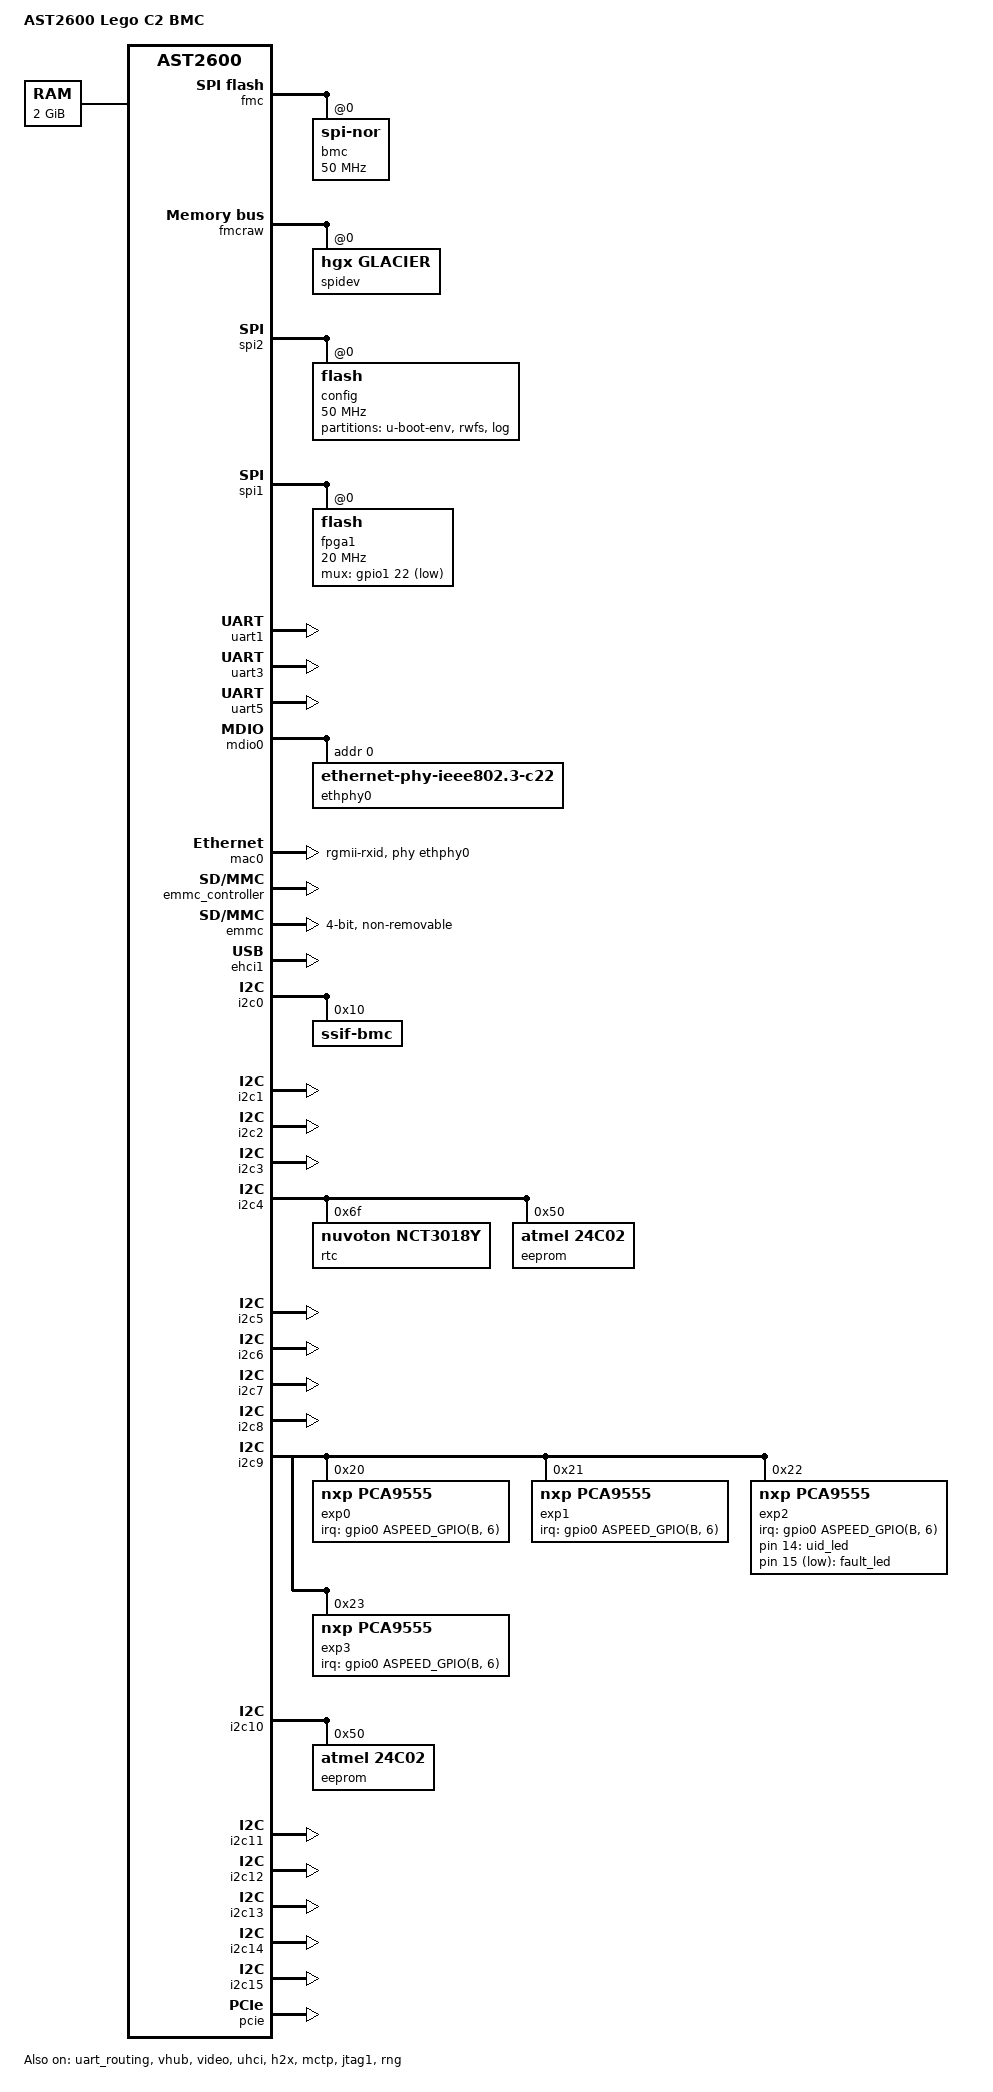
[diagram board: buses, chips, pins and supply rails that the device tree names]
// SPDX-License-Identifier: GPL-2.0+
/dts-v1/;

#include "nvidia-gh-legobmc-core.dtsi"
#include <dt-bindings/leds/common.h>

/ {
    model = "AST2600 Lego C2 BMC";
    compatible = "aspeed,ast2600";

	aliases {
		serial2 = &uart3;
		serial4 = &uart5;
	};

	chosen {
		stdout-path = &uart5;
		bootargs = "console=tty0 console=ttyS4,115200n8 earlyprintk";
	};

	memory@80000000 {
		device_type = "memory";
		reg = <0x80000000 0x80000000>;
	};

    reserved-memory {
		#address-cells = <1>;
		#size-cells = <1>;
		ranges;

		vga_memory: framebuffer@9f000000 {
			no-map;
			reg = <0x9f000000 0x01000000>; /* 16M */
		};

		gfx_memory: framebuffer {
			size = <0x01000000>;
			alignment = <0x01000000>;
			compatible = "shared-dma-pool";
			reusable;
		};

		video_engine_memory: jpegbuffer {
			size = <0x02000000>;	/* 32M */
			alignment = <0x01000000>;
			compatible = "shared-dma-pool";
			reusable;
		};
	};

    power-gpios{
        n2-gpios = <&gpio0 ASPEED_GPIO(N, 2) (GPIO_ACTIVE_HIGH|GPIO_PULL_UP)>;
        n3-gpios = <&gpio0 ASPEED_GPIO(N, 3) (GPIO_ACTIVE_HIGH|GPIO_PULL_UP)>;
    };
    leds {
        compatible = "gpio-leds";
        uid_led {
            gpios = <&exp2 14 GPIO_ACTIVE_HIGH>;
        };
        fault_led {
            gpios = <&exp2 15 GPIO_ACTIVE_LOW>;
        };
    };

};

// Enabled Primary flash on FMC for bring up activity
&fmc {
    status = "okay";
    flash@0 {
        status = "okay";
        compatible = "jedec,spi-nor";
        label = "bmc";
        spi-max-frequency = <50000000>;
#include "aspeed-bmc-nvidia-gh-flash-layout-64.dtsi"
    };
};

&fmcraw {
    status = "okay";
    spidev@0 {
        compatible = "hgx,glacier";
        status = "okay";
    };
};

&spi2 {
    status = "okay";
    pinctrl-names = "default";
    pinctrl-0 = <&pinctrl_spi2_default>;

    // Data SPI is 64MB in size
    flash@0 {
        status = "okay";
        label = "config";
        spi-max-frequency = <50000000>;
        partitions {
            compatible = "fixed-partitions";
            #address-cells = <1>;
            #size-cells = <1>;

            u-boot-env@0 {
                reg = <0x0 0x40000>;            // 256KB at offset 0
                label = "u-boot-env";
            };

            rwfs@40000 {
                reg = <0x40000 0x1000000>;      // 16MB at offset 0x40000
                label = "rwfs";
            };

            log@0x1040000 {
                reg = <0x1040000 0x2800000>;    // 40MB at offset 0x1040000
                label = "log";                  // Move log to EMMC, make this unused
            };
        };
    };
};

&spi1 {
    status = "okay";
    pinctrl-names = "default";
    pinctrl-0 = <&pinctrl_spi1_default>;

    flash@0 {
        status = "okay";
	    mux-gpio = <&gpio1 22 GPIO_ACTIVE_LOW>;
        label = "fpga1";
        spi-rx-bus-width = <1>;
        spi-max-frequency = <20000000>;
    };
};

&uart1 {
        status = "okay";
};

&uart3 {
        //Enabling SOL
        status = "okay";

};

&uart5 {
    // BMC Debug Console
    status = "okay";
};

&uart_routing {
       status = "okay";
};

// MAC1 (per schematics, 1-based MAC1-MAC4) of AST2600 connected to external PHY
// This is "mac0" in zero-based DTS
&mdio0 {
    status = "okay";
    ethphy0: ethernet-phy@0 {
        compatible = "ethernet-phy-ieee802.3-c22";
        reg = <0>;
    };
};

&mac0 {
    status = "okay";
    pinctrl-names = "default";
    phy-mode = "rgmii-rxid";
    max-speed = <1000>;
    phy-handle = <&ethphy0>;
    pinctrl-0 = <&pinctrl_rgmii1_default>;
};

// Enable emmc
&emmc_controller {
    status = "okay";
};

&emmc {
    non-removable;
    bus-width = <4>;
    max-frequency = <52000000>;
};

/*
 * Enable port A as device (via the virtual hub) and port B as
 * host by default on the eval board. This can be easily changed
 * by replacing the override below with &ehci0 { ... } to enable
 * host on both ports.
 */
&vhub {
    status = "okay";
    pinctrl-names = "default";
    /* 
        Uncomment below line to enable internal EHCI controller
        Current config uses xHCI Port1
    */
    // pinctrl-0 = <&pinctrl_usb2adp_default>;
};

&video {
	status = "okay";
	memory-region = <&video_engine_memory>;
};
// USB 2.0 to HMC & Host BMC connectivity
&ehci1 {
   status = "okay";
};

// USB 1.0
&uhci {
   status = "okay";
};

// I2C1, SSIF IPMI interface
&i2c0 {
    status = "okay";
    bus-frequency = <400000>;
	disable-master = <1>;
    ssif-bmc@10 {
        compatible = "ssif-bmc";
        reg = <0x10>;
    };
};

// I2C2, BMC_I2C1_FPGA
&i2c1 {
    status = "okay";
    bus-frequency = <400000>;
};

// I2C3, BMC_I2C0_FPGA
&i2c2 {
    status = "okay";
    bus-frequency = <400000>;
};

// I2C4, BMC_I2C0_FPGA
&i2c3 {
    status = "okay";
    bus-frequency = <400000>;
    
};


//RTC Driver
&i2c4 {
    status = "okay";
    bus-frequency = <400000>;
    rtc@6f {
        compatible = "nuvoton,nct3018y";
        reg = <0x6f>;
        };
    //MB FRU
    eeprom@50 {
        compatible = "atmel,24c02";
        reg = <0x50>;
        pagesize = <8>;
    };
};


// I2C6, I2C_BMC_IOM_EXP
&i2c5 {
    status = "okay";
    bus-frequency = <400000>;
    // Moved switch@70 to Entity Manager
    // tca9548@70 {
	// 	compatible = "nxp,pca9548";
	// 	pinctrl-names = "default";
	// 	#address-cells = <1>;
	// 	#size-cells = <0>;
	// 	reg = <0x70>;
    // };

};

// I2C7, I2C_BMC_IOM_EXP
&i2c6 {
    status = "okay";
    bus-frequency = <400000>;
};

// I2C8, BMC_I2C_PCI
&i2c7 {
    status = "okay";
    bus-frequency = <400000>;
    // Moved switch@70 to Entity Manager
};

// I2C9
&i2c8 {
    status = "okay";
    bus-frequency = <400000>;
};

// I2C10
&i2c9 {
    status = "okay";
    bus-frequency = <400000>;
    exp0: pca9555@20 {
 		compatible = "nxp,pca9555";
 		reg = <0x20>;
		gpio-controller;
		#gpio-cells = <2>;

        #address-cells = <1>;
        #size-cells = <0>;
        interrupt-controller;
        #interrupt-cells = <2>;
        interrupt-parent = <&gpio0>;
        interrupts = <ASPEED_GPIO(B, 6) IRQ_TYPE_LEVEL_LOW>;
        // interrupts = <12 1>, <13 1>, <14 1>, <15 1>;

        gpio-line-names =
            "BMC_I2C0_FPGA_ALERT_L-I",
            "BMC_I2C1_FPGA_ALERT_L-I",
            "FPGA_READY-I",
            "RUN_POWER_FAULT_L-I",
            "THERM_BB_OVERT_L-I",
            "THERM_BB_WARN_L-I",
            "SYS_RST_OUT_L-I",
            "RUN_POWER_PG-I",
            "SHDN_OK_L-I",
            "C1U0_PRSNT0_L-I", //What is this??
            "C1U1_PRSNT0_L-I", //What is this??
            "C1U2_PRSNT0_L-I", //What is this??
            "C1U2_PRSNT1_L-I", //What is this??
            "C1U3_PRSNT0_L-I",//What is this??
            "C1U3_PRSNT1_L-I", //What is this??
            "C2U0_PRSNT0_L-I"; //What is this??
 	};
    exp1: pca9555@21 {
 		compatible = "nxp,pca9555";
 		reg = <0x21>;
		gpio-controller;
		#gpio-cells = <2>;

        #address-cells = <1>;
        #size-cells = <0>;
        interrupt-controller;
        #interrupt-cells = <2>;
        interrupt-parent = <&gpio0>;
        interrupts = <ASPEED_GPIO(B, 6) IRQ_TYPE_LEVEL_LOW>;
        
        gpio-line-names = 
            "C2U1_PRSNT0_L-I",
            "M2M_A_ALERT_N_3V3-I",
            "M2M_B_ALERT_N_3V3-I",
            "BUTTON_POWER_ON_IO-I",
            "CPU_BOOT_DONE-I",
            "FPGA_RSVD_FFU2",
            "FPGA_RSVD_FFU3",
            "FPGA_RSVD_FFU4",
            "B2B_IOEXP_INT_L-I",
            "FPGA_WATCH_DOG_TIMER0_L-I",
            "FPGA_WATCH_DOG_TIMER1_L-I",
            "FPGA_WATCH_DOG_TIMER2_L-I",
            "L0L1_RST_REQ_OUT_L-I",
            "L2_RST_REQ_OUT_L-I",
            "SPI_HOST_TPM_RST_L-I",
            "I2C2_CPU_ALERT_L_3V3_R-I";
 	};
    exp2: pca9555@22 {
 		compatible = "nxp,pca9555";
 		reg = <0x22>;
		gpio-controller;
		#gpio-cells = <2>;

        #address-cells = <1>;
        #size-cells = <0>;
        interrupt-controller;
        #interrupt-cells = <2>;
        interrupt-parent = <&gpio0>;
        interrupts = <ASPEED_GPIO(B, 6) IRQ_TYPE_LEVEL_LOW>;

        gpio-line-names =
            "SPI_TPM_INT_L3V3-O",
            "RTC_CLR_R_L-O",
            "BMC_I2C_SSIF_ALERT_L-O",
            "BMC_READY-O",
            "PWR_BRAKE_L-O",
            "RUN_POWER_EN-O",
            "SHDN_FORCE_L-O",
            "SHDN_REQ_L-O",
            "SYS_RST_IN_L-O",
            "JTAG_MUX_SEL-O",
            "FPGA_RSVD_FFU0",
            "C2U3_PRSNT0_L-I",
            "C2U3_PRSNT1_L-I",
            "UID_SWITCH-I",
            "CPLD_UID_LED-O",
            "PLD_PWRFAIL_FANFAIL_N-O";
 	};
    exp3: pca9555@23 {
 		compatible = "nxp,pca9555";
 		reg = <0x23>;
		gpio-controller;
		#gpio-cells = <2>;

        #address-cells = <1>;
        #size-cells = <0>;
        interrupt-controller;
        #interrupt-cells = <2>;
        interrupt-parent = <&gpio0>;
        interrupts = <ASPEED_GPIO(B, 6) IRQ_TYPE_LEVEL_LOW>;

        gpio-line-names =
            "PSU1_PRSNT_N-I",
            "PSU2_PRSNT_N-I",
            "PSU3_PRSNT_N-I",
            "PSU4_PRSNT_N-I",
            "C1U0_PWRBRK0_L-O",
            "C1U1_PWRBRK0_L-O",
            "C2U0_PWRBRK0_L-O",
            "C2U1_PWRBRK0_L-O",
            "C1U2_PWRBRK0_L-O",
            "C1U3_PWRBRK0_L-O",
            "C2U3_PWRBRK0_L-O",
            "",
            "C1U0_PRSNT1_L-I",
            "C1U1_PRSNT1_L-I",
            "C2U0_PRSNT1_L-I",
            "C2U1_PRSNT1_L-I";
 	};

};

// I2C11
&i2c10 {
    status = "okay";
    bus-frequency = <400000>;

    // BMC FRU EEPROM - 256 bytes
    eeprom@50 {
        compatible = "atmel,24c02";
        reg = <0x50>;
        pagesize = <8>;
    };
};

// I2C12, I2C12_BSDL
&i2c11 {
    status = "okay";
    bus-frequency = <400000>;

    // enable in entity-manager instead
    //lm75@48 {
    //    compatible = "ti,tmp75";
    //    reg = <0x48>;
    //};
};

// I2C13
&i2c12 {
    status = "okay";
    bus-frequency = <400000>;
};

// I2C14, BMC_I2C_HDR1
&i2c13 {
    status = "okay";
    // More Lego-ness: PSU needs 100kHz here
    // but works fine on CG1
    bus-frequency = <100000>;
};

// I2C15, BMC_I2C_HDR2
&i2c14 {
    status = "okay";
    bus-frequency = <400000>;
};

// I2C16
&i2c15 {
    status = "okay";
    bus-frequency = <100000>;
};

// PCIe RC
&pcie {
    status = "okay";

    interrupts = <GIC_SPI 168 IRQ_TYPE_LEVEL_HIGH>;

    pcie_intc0: legacy-interrupt-controller {
                    interrupts = <GIC_SPI 168 IRQ_TYPE_EDGE_RISING>;
    };
};

// Bridge between AHB bus and PCIe RC.
&h2x {
    status = "okay";
};

&mctp {
    status = "okay";
};

&jtag1 {
    mux-gpios = <&gpio0 126 (GPIO_ACTIVE_HIGH | GPIO_PULL_UP)>;
    status = "okay";
};

&rng {
    status = "okay";
};
